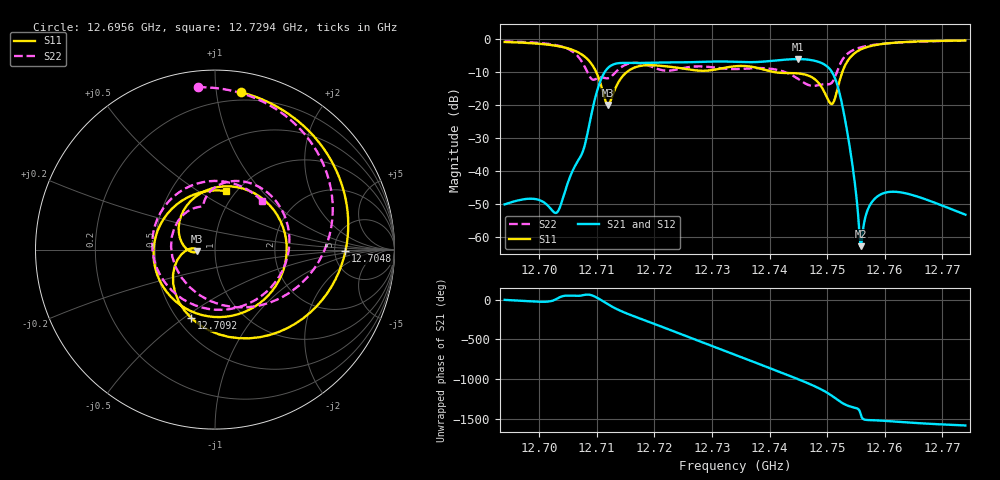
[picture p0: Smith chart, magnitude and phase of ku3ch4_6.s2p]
#  HZ  S  RI  R  50.00
! Rohde & Schwarz ZVA50 2Ports - Version 3.70 - 1145.1110k50 SN: 100192
! Date: 2025-10-24 10:37:11
! Measurements: S11 S21 S12 S22
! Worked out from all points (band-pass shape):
!   401 points, 12.694 GHz to 12.774 GHz, reference 50 ohm
!   highest |S21| = -6.12 dB at 12.745 GHz (marker M1); lowest = -62.9 dB at 12.7558 GHz (marker M2)
!   |S21| within 3 dB of the highest: 12.71178 GHz to 12.75044 GHz (38.66 MHz wide, 0.304 % of centre)
!   lowest |S11| = -20.0 dB at 12.712 GHz (marker M3), VSWR 1.22, Z = 40.9 - j0.59 ohm
!   |S11| at or under -10 dB: 12.70988 GHz to 12.71526 GHz (5.378 MHz wide, 0.0423 % of centre); 12.74058 GHz to 12.75265 GHz (12.07 MHz wide, 0.0947 % of centre)
!   |S22| runs from -14.3 to -0.5 dB; largest |S21 - S12| = 0.00049
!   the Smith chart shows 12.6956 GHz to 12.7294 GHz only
!   S11 on the Smith chart (normalised r, x): 12.6956 GHz: 0.14, +1.17; 12.7048 GHz: 6.31, -0.23; 12.7092 GHz: 0.59, -0.54; 12.7294 GHz: 0.90, +0.66
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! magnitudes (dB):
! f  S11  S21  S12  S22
! 12.694 GHz  -0.9  -50.2  -50.2  -0.7
! 12.6956 GHz  -1.0  -49.4  -49.4  -0.8
! 12.6996 GHz  -1.4  -48.7  -48.7  -1.2
! 12.703 GHz  -2.1  -52.8  -52.8  -1.9
! 12.7048 GHz  -2.8  -44.6  -44.5  -2.9
! 12.7074 GHz  -4.7  -34.9  -34.9  -6.9
! 12.7092 GHz  -7.9  -21.8  -21.8  -12.3
! 12.7106 GHz  -13.3  -12.9  -12.9  -11.6
! 12.712 GHz  -20.0  -8.7  -8.7  -11.9
! 12.7154 GHz  -9.8  -7.3  -7.3  -7.6
! 12.7208 GHz  -8.1  -7.2  -7.2  -9.2
! 12.7294 GHz  -9.6  -6.9  -6.9  -8.5
! 12.734 GHz  -8.3  -7.0  -7.0  -9.2
! 12.745 GHz  -10.5  -6.1  -6.1  -12.2
! 12.7474 GHz  -11.7  -6.5  -6.5  -14.3
! 12.7506 GHz  -19.7  -9.5  -9.5  -13.6
! 12.752 GHz  -13.8  -15.4  -15.4  -8.7
! 12.754 GHz  -5.6  -33.7  -33.7  -3.9
! 12.7558 GHz  -3.2  -62.9  -62.9  -2.6
! 12.7578 GHz  -2.1  -49.5  -49.4  -1.9
! 12.7608 GHz  -1.3  -46.4  -46.4  -1.3
! 12.774 GHz  -0.5  -53.3  -53.3  -0.5
